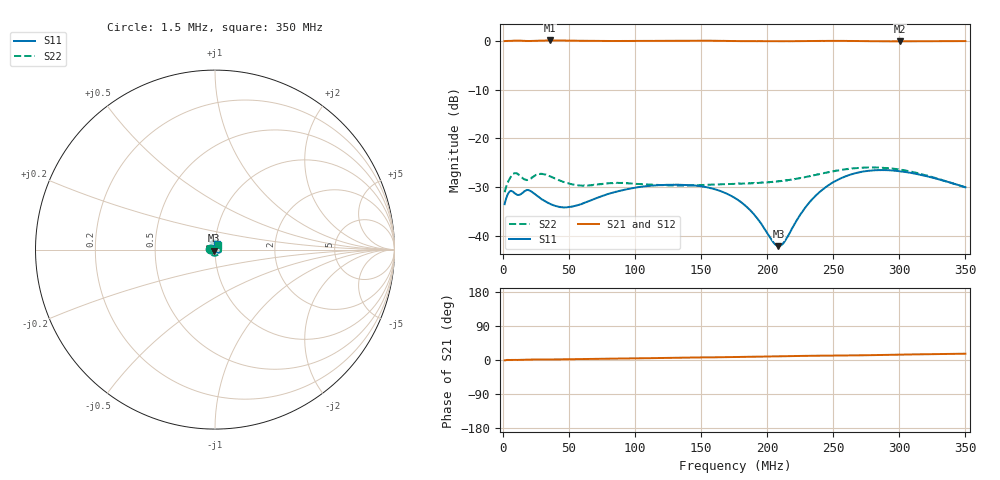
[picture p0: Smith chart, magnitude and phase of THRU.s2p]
# Hz S RI R 50
! RAW DATA - UNCALIBRATED
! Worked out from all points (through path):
!   1601 points, 1.5 MHz to 350 MHz, reference 50 ohm
!   highest |S21| = 0.06 dB at 35.7 MHz (marker M1); lowest = -0.1 dB at 300.6 MHz (marker M2)
!   lowest |S11| = -42.0 dB at 208.6 MHz (marker M3), VSWR 1.02, Z = 49.4 - j0.542 ohm
!   |S11| at or under -10 dB: start of sweep to end of sweep
!   |S22| runs from -31.0 to -25.9 dB; largest |S21 - S12| = 0.045
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1500000  -0.0213 0.000593  0.9917 -0.0159  0.992 -0.0295  -0.0282 0.00138
5202812  -0.0285 0.00294  0.9953 0.00146  0.9943 -0.00446  -0.0385 -0.000422
8905625  -0.0259 0.00983  1.002 0.00452  0.9888 0.00238  -0.043 0.0103
2.001406e7  -0.0198 0.0219  0.9931 0.0176  0.9941 0.0137  -0.0307 0.0226
2.76375e7  -0.0075 0.0239  1.001 0.0214  0.9891 0.019  -0.0262 0.0346
3.569656e7  -5.53e-05 0.0215  1.006 0.0242  0.9946 0.0317  -0.0114 0.0396
4.702281e7  0.00647 0.0186  1.004 0.0327  1 0.0408  0.00146 0.0355
5.965594e7  0.0133 0.0167  0.9967 0.0438  0.9943 0.05  0.0094 0.0316
8.710031e7  0.0279 0.00722  0.9918 0.0657  0.9825 0.0743  0.0294 0.0194
1.178119e8  0.0328 -0.00556  0.9932 0.0889  0.9822 0.1055  0.0316 -0.0112
1.522262e8  0.0285 -0.0147  0.9944 0.1193  0.9866 0.1431  0.0103 -0.0319
1.7575e8  0.0174 -0.0173  0.9825 0.1348  0.9777 0.1603  -0.00994 -0.0329
1.886009e8  0.0086 -0.0154  0.9787 0.1479  0.9724 0.1718  -0.0209 -0.0278
2.045012e8  -0.00293 -0.00822  0.9749 0.1624  0.9678 0.1885  -0.0322 -0.0158
2.086397e8  -0.00572 -0.00548  0.9746 0.1668  0.9667 0.1938  -0.0346 -0.012
2.132138e8  -0.00859 -0.00213  0.9741 0.1709  0.966 0.1999  -0.0363 -0.00724
2.339059e8  -0.0166 0.0169  0.975 0.192  0.967 0.2225  -0.038 0.0172
2.458856e8  -0.0164 0.0285  0.976 0.1995  0.9683 0.2319  -0.0328 0.031
2.596078e8  -0.0122 0.0392  0.9731 0.2059  0.9644 0.2391  -0.0224 0.043
2.920619e8  0.00396 0.0472  0.9592 0.2314  0.9496 0.2677  0.00522 0.0492
3.005566e8  0.00717 0.0456  0.9551 0.241  0.9453 0.2783  0.00993 0.0469
3.5e8  0.0131 0.0288  0.9506 0.2828  0.9383 0.3252  0.0142 0.0284
